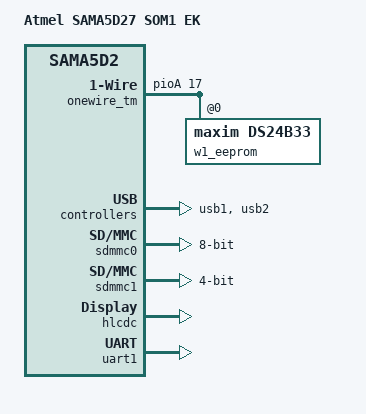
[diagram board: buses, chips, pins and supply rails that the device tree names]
/*
 * at91-sama5d27_som1_ek.dts - Device Tree file for SAMA5D27 SOM1 EK board
 *
 *  Copyright (C) 2017 Microchip Corporation
 *                     Wenyou Yang <wenyou.yang@microchip.com>
 *
 * This file is dual-licensed: you can use it either under the terms
 * of the GPL or the X11 license, at your option. Note that this dual
 * licensing only applies to this file, and not this project as a
 * whole.
 *
 *  a) This file is free software; you can redistribute it and/or
 *     modify it under the terms of the GNU General Public License as
 *     published by the Free Software Foundation; either version 2 of the
 *     License, or (at your option) any later version.
 *
 *     This file is distributed in the hope that it will be useful,
 *     but WITHOUT ANY WARRANTY; without even the implied warranty of
 *     MERCHANTABILITY or FITNESS FOR A PARTICULAR PURPOSE.  See the
 *     GNU General Public License for more details.
 *
 * Or, alternatively,
 *
 *  b) Permission is hereby granted, free of charge, to any person
 *     obtaining a copy of this software and associated documentation
 *     files (the "Software"), to deal in the Software without
 *     restriction, including without limitation the rights to use,
 *     copy, modify, merge, publish, distribute, sublicense, and/or
 *     sell copies of the Software, and to permit persons to whom the
 *     Software is furnished to do so, subject to the following
 *     conditions:
 *
 *     The above copyright notice and this permission notice shall be
 *     included in all copies or substantial portions of the Software.
 *
 *     THE SOFTWARE IS PROVIDED "AS IS", WITHOUT WARRANTY OF ANY KIND,
 *     EXPRESS OR IMPLIED, INCLUDING BUT NOT LIMITED TO THE WARRANTIES
 *     OF MERCHANTABILITY, FITNESS FOR A PARTICULAR PURPOSE AND
 *     NONINFRINGEMENT. IN NO EVENT SHALL THE AUTHORS OR COPYRIGHT
 *     HOLDERS BE LIABLE FOR ANY CLAIM, DAMAGES OR OTHER LIABILITY,
 *     WHETHER IN AN ACTION OF CONTRACT, TORT OR OTHERWISE, ARISING
 *     FROM, OUT OF OR IN CONNECTION WITH THE SOFTWARE OR THE USE OR
 *     OTHER DEALINGS IN THE SOFTWARE.
 */
/dts-v1/;
#include "sama5d27_som1.dtsi"

/ {
	model = "Atmel SAMA5D27 SOM1 EK";
	compatible = "atmel,sama5d27-som1-ek", "atmel,sama5d2", "atmel,sama5";

	chosen {
		u-boot,dm-pre-reloc;
		stdout-path = &uart1;
	};

	onewire_tm: onewire {
		gpios = <&pioA 17 0>;
		pinctrl-names = "default";
		pinctrl-0 = <&pinctrl_onewire_tm_default>;
		status = "okay";

		w1_eeprom: w1_eeprom@0 {
			compatible = "maxim,ds24b33";
			status = "okay";
		};
	};

	ahb {
		usb1: ohci@00400000 {
			num-ports = <3>;
			atmel,vbus-gpio = <&pioA 42 0>;
			pinctrl-names = "default";
			pinctrl-0 = <&pinctrl_usb_default>;
			status = "okay";
		};

		usb2: ehci@00500000 {
			status = "okay";
		};

		sdmmc0: sdio-host@a0000000 {
			bus-width = <8>;
			pinctrl-names = "default";
			pinctrl-0 = <&pinctrl_sdmmc0_cmd_dat_default &pinctrl_sdmmc0_ck_cd_default>;
			status = "okay";
			u-boot,dm-pre-reloc;
		};

		sdmmc1: sdio-host@b0000000 {
			bus-width = <4>;
			pinctrl-names = "default";
			pinctrl-0 = <&pinctrl_sdmmc1_cmd_dat_default &pinctrl_sdmmc1_ck_cd_default>;
			status = "okay"; /* conflict with qspi0 */
			u-boot,dm-pre-reloc;
		};

		apb {
			hlcdc: hlcdc@f0000000 {
				atmel,vl-bpix = <4>;
				atmel,guard-time = <1>;
				pinctrl-names = "default";
				pinctrl-0 = <&pinctrl_lcd_base &pinctrl_lcd_pwm &pinctrl_lcd_rgb666>;
				status = "okay";
				u-boot,dm-pre-reloc;

				display-timings {
					u-boot,dm-pre-reloc;
					480x272 {
						clock-frequency = <9000000>;
						hactive = <480>;
						vactive = <272>;
						hsync-len = <41>;
						hfront-porch = <2>;
						hback-porch = <2>;
						vfront-porch = <2>;
						vback-porch = <2>;
						vsync-len = <11>;
						u-boot,dm-pre-reloc;
					};
				};
			};

			uart1: serial@f8020000 {
				pinctrl-names = "default";
				pinctrl-0 = <&pinctrl_uart1_default>;
				status = "okay";
				u-boot,dm-pre-reloc;
			};

			pioA: gpio@fc038000 {
				pinctrl {
					pinctrl_lcd_base: pinctrl_lcd_base {
						pinmux = <PIN_PC5__LCDVSYNC>,
							 <PIN_PC6__LCDHSYNC>,
							 <PIN_PC8__LCDDEN>,
							 <PIN_PC7__LCDPCK>;
						bias-disable;
					};

					pinctrl_lcd_pwm: pinctrl_lcd_pwm {
						pinmux = <PIN_PC3__LCDPWM>;
						bias-disable;
					};

					pinctrl_lcd_rgb666: pinctrl_lcd_rgb666 {
						pinmux = <PIN_PB13__LCDDAT2>,
							 <PIN_PB14__LCDDAT3>,
							 <PIN_PB15__LCDDAT4>,
							 <PIN_PB16__LCDDAT5>,
							 <PIN_PB17__LCDDAT6>,
							 <PIN_PB18__LCDDAT7>,
							 <PIN_PB21__LCDDAT10>,
							 <PIN_PB22__LCDDAT11>,
							 <PIN_PB23__LCDDAT12>,
							 <PIN_PB24__LCDDAT13>,
							 <PIN_PB25__LCDDAT14>,
							 <PIN_PB26__LCDDAT15>,
							 <PIN_PB29__LCDDAT18>,
							 <PIN_PB30__LCDDAT19>,
							 <PIN_PB31__LCDDAT20>,
							 <PIN_PC0__LCDDAT21>,
							 <PIN_PC1__LCDDAT22>,
							 <PIN_PC2__LCDDAT23>;
						bias-disable;
					};

					pinctrl_sdmmc0_cmd_dat_default: sdmmc0_cmd_dat_default {
						pinmux = <PIN_PA1__SDMMC0_CMD>,
							 <PIN_PA2__SDMMC0_DAT0>,
							 <PIN_PA3__SDMMC0_DAT1>,
							 <PIN_PA4__SDMMC0_DAT2>,
							 <PIN_PA5__SDMMC0_DAT3>,
							 <PIN_PA6__SDMMC0_DAT4>,
							 <PIN_PA7__SDMMC0_DAT5>,
							 <PIN_PA8__SDMMC0_DAT6>,
							 <PIN_PA9__SDMMC0_DAT7>;
						bias-pull-up;
						u-boot,dm-pre-reloc;
					};

					pinctrl_sdmmc0_ck_cd_default: sdmmc0_ck_cd_default {
						pinmux = <PIN_PA0__SDMMC0_CK>,
							 <PIN_PA10__SDMMC0_RSTN>,
							 <PIN_PA13__SDMMC0_CD>;
						bias-disable;
						u-boot,dm-pre-reloc;
					};

					pinctrl_sdmmc1_cmd_dat_default: sdmmc1_cmd_dat_default {
						pinmux = <PIN_PA28__SDMMC1_CMD>,
							 <PIN_PA18__SDMMC1_DAT0>,
							 <PIN_PA19__SDMMC1_DAT1>,
							 <PIN_PA20__SDMMC1_DAT2>,
							 <PIN_PA21__SDMMC1_DAT3>;
						bias-pull-up;
						u-boot,dm-pre-reloc;
					};

					pinctrl_sdmmc1_ck_cd_default: sdmmc1_ck_cd_default {
						pinmux = <PIN_PA22__SDMMC1_CK>,
							 <PIN_PA30__SDMMC1_CD>;
						bias-disable;
						u-boot,dm-pre-reloc;
					};

					pinctrl_uart1_default: uart1_default {
						pinmux = <PIN_PD2__URXD1>,
							 <PIN_PD3__UTXD1>;
						bias-disable;
						u-boot,dm-pre-reloc;
					};

					pinctrl_usb_default: usb_default {
						pinmux = <PIN_PB10__GPIO>;
						bias-disable;
					};

					pinctrl_usba_vbus: usba_vbus {
						pinmux = <PIN_PA31__GPIO>;
						bias-disable;
					};

					pinctrl_onewire_tm_default: onewire_tm_default {
						pinmux = <PIN_PA17__GPIO>;
						bias-pull-up;
					};
				};
			};
		};
	};
};
